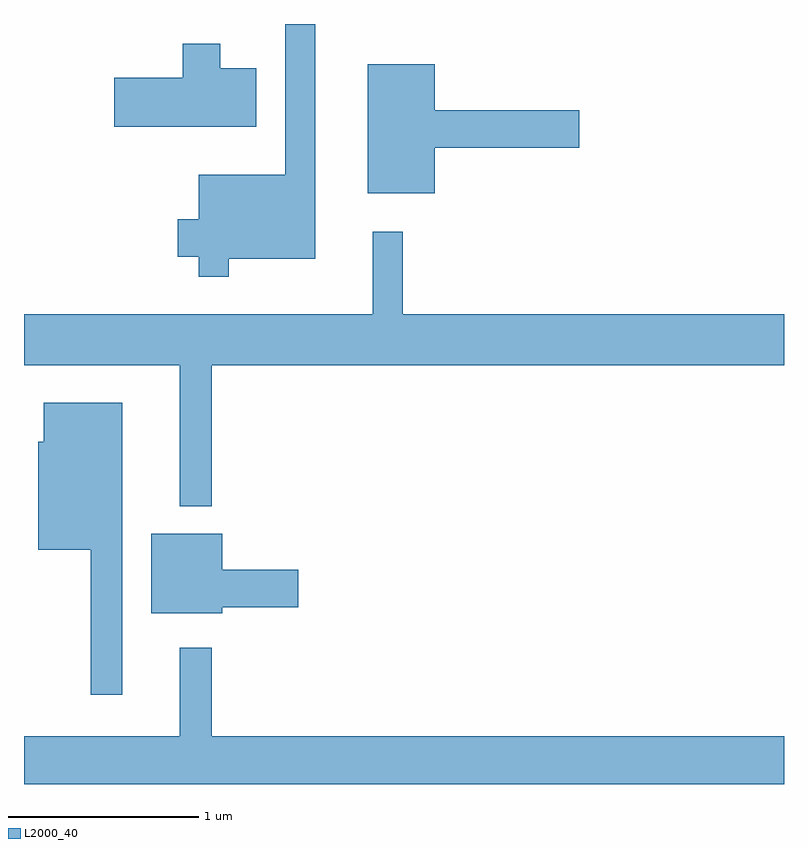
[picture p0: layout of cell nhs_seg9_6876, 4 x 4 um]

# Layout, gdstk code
import gdstk
lib = gdstk.Library(unit=1e-6, precision=1e-09)
def P(c, l, *ps):  # polygons
    for p in ps: c.add(gdstk.Polygon(p, *l))
L2000_40 = (2000, 40)

nhs_seg9_6876 = lib.new_cell('nhs_seg9_6876')
P(nhs_seg9_6876, L2000_40, [(388.689,2061.196),(389.144,2061.196),(389.144,2062.432),(388.986,2062.432),(388.986,2061.639),(388.531,2061.639),(388.531,2061.404),(388.421,2061.404),(388.421,2061.206),(388.531,2061.206),(388.531,2061.101),(388.689,2061.101)],
  [(388.834,2062.199),(388.644,2062.199),(388.644,2062.329),(388.446,2062.329),(388.446,2062.149),(388.086,2062.149),(388.086,2061.891),(388.834,2061.891)],
  [(389.774,2061.781),(390.534,2061.781),(390.534,2061.979),(389.774,2061.979),(389.774,2062.219),(389.421,2062.219),(389.421,2061.541),(389.774,2061.541)],
  [(388.599,2060.636),(391.611,2060.636),(391.611,2060.904),(389.604,2060.904),(389.604,2061.338),(389.446,2061.338),(389.446,2060.904),(387.611,2060.904),(387.611,2060.636),(388.431,2060.636),(388.431,2059.893),(388.599,2059.893)],
  [(388.129,2060.439),(387.716,2060.439),(387.716,2060.234),(387.686,2060.234),(387.686,2059.666),(387.961,2059.666),(387.961,2058.903),(388.129,2058.903)],
  [(388.654,2059.361),(389.054,2059.361),(389.054,2059.559),(388.654,2059.559),(388.654,2059.749),(388.281,2059.749),(388.281,2059.331),(388.654,2059.331)],
  [(391.611,2058.684),(388.599,2058.684),(388.599,2059.148),(388.431,2059.148),(388.431,2058.684),(387.611,2058.684),(387.611,2058.432),(391.611,2058.432)])

lib.write_gds('nhs_seg9_6876.gds')
